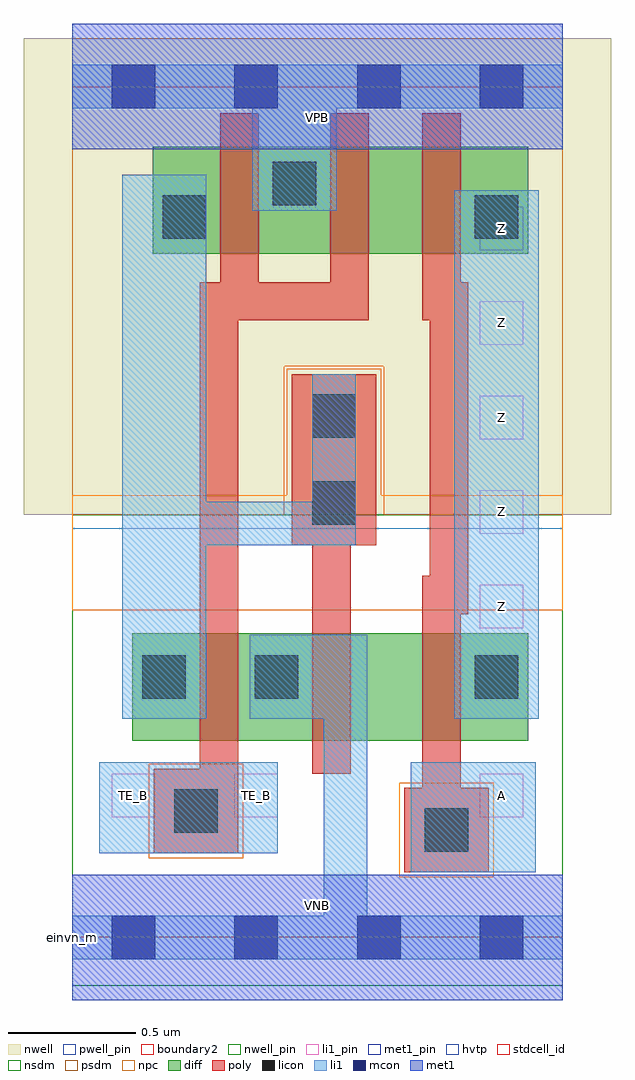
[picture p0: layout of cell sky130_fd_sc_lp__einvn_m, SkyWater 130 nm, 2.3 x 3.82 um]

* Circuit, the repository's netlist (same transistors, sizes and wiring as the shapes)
* Copyright 2020 The SkyWater PDK Authors
*
* Licensed under the Apache License, Version 2.0 (the "License");
* you may not use this file except in compliance with the License.
* You may obtain a copy of the License at
*
*     https://www.apache.org/licenses/LICENSE-2.0
*
* Unless required by applicable law or agreed to in writing, software
* distributed under the License is distributed on an "AS IS" BASIS,
* WITHOUT WARRANTIES OR CONDITIONS OF ANY KIND, either express or implied.
* See the License for the specific language governing permissions and
* limitations under the License.
*
* SPDX-License-Identifier: Apache-2.0

.SUBCKT sky130_fd_sc_lp__einvn_m A TE_B VGND VNB VPB VPWR Z
*.PININFO A:I TE_B:I VGND:I VNB:I VPB:I VPWR:I Z:O
MMN0 Z A sndA VNB sky130_fd_pr__nfet_01v8 m=1 w=0.42U l=0.15U mult=1 sa=0.265 sb=0.265
+ sd=0.28 area=0.063 perim=1.14
MMN1 sndA TE VGND VNB sky130_fd_pr__nfet_01v8 m=1 w=0.42U l=0.15U mult=1 sa=0.265
+ sb=0.265 sd=0.28 area=0.063 perim=1.14
MMIN1 TE TE_B VGND VNB sky130_fd_pr__nfet_01v8 m=1 w=0.42U l=0.15U mult=1 sa=0.265
+ sb=0.265 sd=0.28 area=0.063 perim=1.14
MMP0 VPWR TE_B sndTEB VPB sky130_fd_pr__pfet_01v8_hvt m=1 w=0.42U l=0.15U mult=1
+ sa=0.265 sb=0.265 sd=0.28 area=0.063 perim=1.14
MMP1 sndTEB A Z VPB sky130_fd_pr__pfet_01v8_hvt m=1 w=0.42U l=0.15U mult=1 sa=0.265
+ sb=0.265 sd=0.28 area=0.063 perim=1.14
MMIP1 TE TE_B VPWR VPB sky130_fd_pr__pfet_01v8_hvt m=1 w=0.42U l=0.15U mult=1 sa=0.265
+ sb=0.265 sd=0.28 area=0.063 perim=1.14
.ENDS sky130_fd_sc_lp__einvn_m

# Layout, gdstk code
import gdstk
lib = gdstk.Library(unit=1e-6, precision=1e-09)
def R(c, l, rs):  # rectangles x0, y0, x1, y1
    for r in rs: c.add(gdstk.rectangle(r[:2], r[2:], *l))
def A(c, l, x, y, w, h, nx, ny, dx, dy):  # array of equal rectangles
    R(c, l, [(x+i*dx, y+j*dy, x+i*dx+w, y+j*dy+h) for i in range(nx) for j in range(ny)])
def P(c, l, *ps):  # polygons
    for p in ps: c.add(gdstk.Polygon(p, *l))
nwell_pin = (64, 16)
nwell = (64, 20)
diff = (65, 20)
poly = (66, 20)
licon = (66, 44)
li1_pin = (67, 16)
li1 = (67, 20)
mcon = (67, 44)
met1_pin = (68, 16)
met1 = (68, 20)
hvtp = (78, 44)
stdcell_id = (81, 4)
nsdm = (93, 44)
psdm = (94, 20)
npc = (95, 20)
pwell_pin = (122, 16)
boundary2 = (236, 0)

sky130_fd_sc_lp__einvn_m = lib.new_cell('sky130_fd_sc_lp__einvn_m')
R(sky130_fd_sc_lp__einvn_m, nwell_pin, [(0,3.085,1.92,3.33)])
R(sky130_fd_sc_lp__einvn_m, nwell, [(-0.19,1.655,2.11,3.52)])
R(sky130_fd_sc_lp__einvn_m, diff, [(0.235,0.77,1.785,1.19), (0.315,2.675,1.785,3.095)])
P(sky130_fd_sc_lp__einvn_m, poly, [(1.63,0.585),(1.52,0.585),(1.52,1.265),(1.55,1.265),(1.55,2.565),(1.52,2.565),(1.52,3.225),(1.37,3.225),(1.37,2.415),(1.4,2.415),(1.4,1.415),(1.37,1.415),(1.37,0.585),(1.3,0.585),(1.3,0.255),(1.63,0.255)],
  [(1.16,3.225),(1.01,3.225),(1.01,2.565),(0.73,2.565),(0.73,3.225),(0.58,3.225),(0.58,2.565),(0.5,2.565),(0.5,0.66),(0.32,0.66),(0.32,0.33),(0.65,0.33),(0.65,2.415),(1.16,2.415)],
  [(1.19,2.205),(0.86,2.205),(0.86,1.535),(0.94,1.535),(0.94,0.64),(1.09,0.64),(1.09,1.535),(1.19,1.535)])
R(sky130_fd_sc_lp__einvn_m, licon, [(1.38,0.335,1.55,0.505), (0.4,0.41,0.57,0.58), (0.275,0.935,0.445,1.105), (0.715,0.935,0.885,1.105), (1.575,0.935,1.745,1.105), (0.94,1.615,1.11,1.785), (0.94,1.955,1.11,2.125), (0.355,2.735,0.525,2.905), (1.575,2.735,1.745,2.905), (0.785,2.865,0.955,3.035)])
A(sky130_fd_sc_lp__einvn_m, li1_pin, 1.595, 1.21, 0.17, 0.17, 1, 5, 0, 0.37)
R(sky130_fd_sc_lp__einvn_m, li1_pin, [(0.155,0.47,0.325,0.64), (0.635,0.47,0.805,0.64), (1.595,0.47,1.765,0.64)])
R(sky130_fd_sc_lp__einvn_m, li1, [(1.325,0.255,1.815,0.685), (0.105,0.33,0.805,0.685), (1.495,0.855,1.825,2.925)])
P(sky130_fd_sc_lp__einvn_m, li1, [(1.11,2.205),(0.94,2.205),(0.94,1.705),(0.525,1.705),(0.525,2.985),(0.195,2.985),(0.195,0.855),(0.525,0.855),(0.525,1.535),(1.11,1.535)],
  [(1.92,0.085),(1.155,0.085),(1.155,1.185),(0.695,1.185),(0.695,0.855),(0.985,0.855),(0.985,0.085),(0,0.085),(0,-0.085),(1.92,-0.085)],
  [(1.92,3.415),(0,3.415),(0,3.245),(0.705,3.245),(0.705,2.845),(1.035,2.845),(1.035,3.245),(1.92,3.245)])
A(sky130_fd_sc_lp__einvn_m, mcon, 0.155, -0.085, 0.17, 0.17, 4, 2, 0.48, 3.33)
R(sky130_fd_sc_lp__einvn_m, met1_pin, [(0,0,1.92,0.245), (0,3.085,1.92,3.33)])
R(sky130_fd_sc_lp__einvn_m, met1, [(0,-0.245,1.92,0.245), (0,3.085,1.92,3.575)])
R(sky130_fd_sc_lp__einvn_m, hvtp, [(0,1.6,1.92,3.33)])
R(sky130_fd_sc_lp__einvn_m, stdcell_id, [(0,0,1.92,3.33)])
R(sky130_fd_sc_lp__einvn_m, nsdm, [(0,-0.19,1.92,1.655)])
P(sky130_fd_sc_lp__einvn_m, psdm, [(1.92,3.52),(0,3.52),(0,1.655),(0.83,1.655),(0.83,2.235),(1.22,2.235),(1.22,1.655),(1.92,1.655)])
R(sky130_fd_sc_lp__einvn_m, npc, [(1.28,0.235,1.65,0.605), (0.3,0.31,0.67,0.68)])
P(sky130_fd_sc_lp__einvn_m, npc, [(1.92,1.73),(1.21,1.73),(1.21,2.225),(0.84,2.225),(0.84,1.73),(0,1.73),(0,1.28),(1.92,1.28)])
R(sky130_fd_sc_lp__einvn_m, pwell_pin, [(0,0,1.92,0.245)])
R(sky130_fd_sc_lp__einvn_m, boundary2, [(0,0,1.92,3.33)])
sky130_fd_sc_lp__einvn_m.add(gdstk.Label('VNB', (0.96,0.123), layer=64, texttype=59))
sky130_fd_sc_lp__einvn_m.add(gdstk.Label('VPB', (0.96,3.208), layer=64, texttype=5))
sky130_fd_sc_lp__einvn_m.add(gdstk.Label('einvn_m', (0,0), layer=83, texttype=44))
sky130_fd_sc_lp__einvn_m.add(gdstk.Label('VPWR', (0.96,3.208), layer=68, texttype=5))
sky130_fd_sc_lp__einvn_m.add(gdstk.Label('VGND', (0.96,0.123), layer=68, texttype=5))
sky130_fd_sc_lp__einvn_m.add(gdstk.Label('A', (1.68,0.555), layer=67, texttype=5))
sky130_fd_sc_lp__einvn_m.add(gdstk.Label('TE_B', (0.24,0.555), layer=67, texttype=5))
sky130_fd_sc_lp__einvn_m.add(gdstk.Label('TE_B', (0.72,0.555), layer=67, texttype=5))
sky130_fd_sc_lp__einvn_m.add(gdstk.Label('Z', (1.68,1.295), layer=67, texttype=5))
sky130_fd_sc_lp__einvn_m.add(gdstk.Label('Z', (1.68,1.665), layer=67, texttype=5))
sky130_fd_sc_lp__einvn_m.add(gdstk.Label('Z', (1.68,2.035), layer=67, texttype=5))
sky130_fd_sc_lp__einvn_m.add(gdstk.Label('Z', (1.68,2.405), layer=67, texttype=5))
sky130_fd_sc_lp__einvn_m.add(gdstk.Label('Z', (1.68,2.775), layer=67, texttype=5))

lib.write_gds('sky130_fd_sc_lp__einvn_m.gds')
